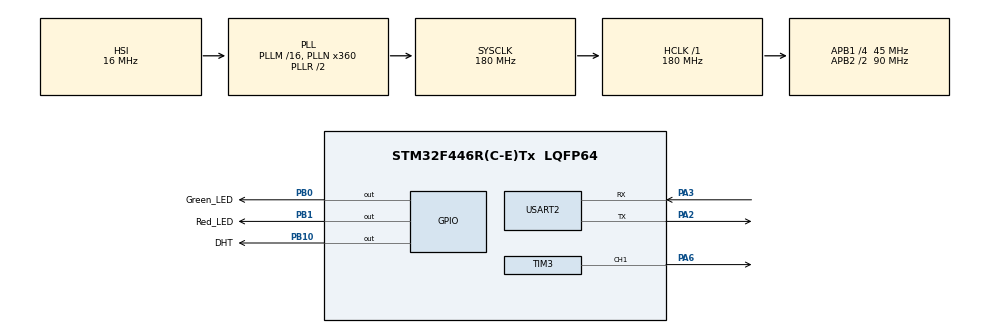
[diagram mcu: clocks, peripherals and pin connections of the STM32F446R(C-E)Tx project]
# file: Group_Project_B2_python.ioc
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Mcu.Family=STM32F4
Mcu.Name=STM32F446R(C-E)Tx
Mcu.Package=LQFP64
NVIC.PriorityGroup=NVIC_PRIORITYGROUP_4
NVIC.USART2_IRQn=true\:5\:0\:true\:false\:true\:true\:true\:true
PA2.Mode=Asynchronous
PA2.Signal=USART2_TX
PA3.Mode=Asynchronous
PA3.Signal=USART2_RX
PA6.Signal=S_TIM3_CH1
PB0.GPIO_Label=Green_LED
PB0.Signal=GPIO_Output
PB1.GPIO_Label=Red_LED
PB1.Signal=GPIO_Output
PB10.GPIO_Label=DHT
PB10.Signal=GPIO_Output
PC14-OSC32_IN.Mode=LSE-External-Oscillator
PC14-OSC32_IN.Signal=RCC_OSC32_IN
PC15-OSC32_OUT.Mode=LSE-External-Oscillator
PC15-OSC32_OUT.Signal=RCC_OSC32_OUT
PH0-OSC_IN.Mode=HSE-External-Oscillator
PH0-OSC_IN.Signal=RCC_OSC_IN
PH1-OSC_OUT.Mode=HSE-External-Oscillator
PH1-OSC_OUT.Signal=RCC_OSC_OUT
ProjectManager.HeapSize=0x200
ProjectManager.StackSize=0x400
ProjectManager.TargetToolchain=STM32CubeIDE
RCC.AHBFreq_Value=180000000
RCC.APB1CLKDivider=RCC_HCLK_DIV4
RCC.APB1Freq_Value=45000000
RCC.APB1TimFreq_Value=90000000
RCC.APB2CLKDivider=RCC_HCLK_DIV2
RCC.APB2Freq_Value=90000000
RCC.APB2TimFreq_Value=180000000
RCC.CortexFreq_Value=180000000
RCC.HCLKFreq_Value=180000000
RCC.PLLN=360
RCC.SYSCLKFreq_VALUE=180000000
RCC.SYSCLKSource=RCC_SYSCLKSOURCE_PLLRCLK
RCC.USBFreq_Value=180000000
RCC.VCOOutputFreq_Value=360000000
SH.S_TIM3_CH1.0=TIM3_CH1,PWM Generation1 CH1
TIM3.Channel-PWM\ Generation1\ CH1=TIM_CHANNEL_1
TIM3.Period=19999
TIM3.Prescaler=89
USART2.VirtualMode=VM_ASYNC
VP_TIM3_VS_ClockSourceINT.Mode=Internal
board=custom

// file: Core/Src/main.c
/* USER CODE BEGIN Header */
/**
  ******************************************************************************
  * @file           : main.c
  * @brief          : Main program body
  ******************************************************************************
  * @attention
  *
  * Copyright (c) 2026 STMicroelectronics.
  * All rights reserved.
  *
  * This software is licensed under terms that can be found in the LICENSE file
  * in the root directory of this software component.
  * If no LICENSE file comes with this software, it is provided AS-IS.
  *
  ******************************************************************************
  */
/* USER CODE END Header */
#include "main.h"

/* USER CODE BEGIN PD */
#define GREEN_LED_PORT GPIOB
#define GREEN_LED_PIN GPIO_PIN_0
#define RED_LED_PORT GPIOB
#define RED_LED_PIN GPIO_PIN_1
#define DHT_PORT GPIOB
#define DHT_PIN GPIO_PIN_10

#define CMD_BUF_SIZE 8

#define SERVO_HOME_PULSE_US 1000
#define SERVO_MAX_PULSE_US 2000

#define CMD_BUF_SIZE 8
/* USER CODE END PD */

TIM_HandleTypeDef htim3;

UART_HandleTypeDef huart2;

/* USER CODE BEGIN PV */
extern TIM_HandleTypeDef htim3;
extern UART_HandleTypeDef huart2;

uint8_t rxByte;
char cmdBuf[CMD_BUF_SIZE];
uint8_t cmdIndex = 0;
volatile uint8_t commandReady = 0;
/* USER CODE END PV */

void SystemClock_Config(void);
static void MX_GPIO_Init(void);
static void MX_TIM3_Init(void);
static void MX_USART2_UART_Init(void);
/* USER CODE BEGIN PFP */
void delay_us(uint16_t us);
void dht_set_output(void);
void dht_set_input(void);
uint8_t dht_read(float *temperature, float *humidity);
void indicate_normal(void);
void indicate_defect(void);
void handle_command(const char *cmd);
/* USER CODE END PFP */

int main(void)
{

  /* MCU Configuration--------------------------------------------------------*/

  /* Reset of all peripherals, Initializes the Flash interface and the Systick. */
  HAL_Init();

  /* Configure the system clock */
  SystemClock_Config();

  /* Initialize all configured peripherals */
  MX_GPIO_Init();
  MX_TIM3_Init();
  MX_USART2_UART_Init();
  /* USER CODE BEGIN 2 */
  HAL_GPIO_WritePin(GREEN_LED_PORT, GREEN_LED_PIN, GPIO_PIN_RESET);
  HAL_GPIO_WritePin(RED_LED_PORT, RED_LED_PIN, GPIO_PIN_RESET);

  HAL_TIM_Base_Start(&htim3); // 마이크로초 딜레이용 타이머 시작
  HAL_UART_Receive_IT(&huart2, &rxByte, 1);  //첫 바이트 수신 대기 시작
  /* USER CODE END 2 */

  /* Infinite loop */
  while (1)
  {
    /* USER CODE BEGIN 3 */
	  if(commandReady)
	  {
		  commandReady = 0;
		  handle_command(cmdBuf);
		  cmdIndex = 0;
	  }
  /* USER CODE END 3 */
  }
}

void SystemClock_Config(void)
{
  RCC_OscInitTypeDef RCC_OscInitStruct = {0};
  RCC_ClkInitTypeDef RCC_ClkInitStruct = {0};

  /** Configure the main internal regulator output voltage
  */
  __HAL_RCC_PWR_CLK_ENABLE();
  __HAL_PWR_VOLTAGESCALING_CONFIG(PWR_REGULATOR_VOLTAGE_SCALE1);

  /** Initializes the RCC Oscillators according to the specified parameters
  * in the RCC_OscInitTypeDef structure.
  */
  RCC_OscInitStruct.OscillatorType = RCC_OSCILLATORTYPE_HSI;
  RCC_OscInitStruct.HSIState = RCC_HSI_ON;
  RCC_OscInitStruct.HSICalibrationValue = RCC_HSICALIBRATION_DEFAULT;
  RCC_OscInitStruct.PLL.PLLState = RCC_PLL_ON;
  RCC_OscInitStruct.PLL.PLLSource = RCC_PLLSOURCE_HSI;
  RCC_OscInitStruct.PLL.PLLM = 16;
  RCC_OscInitStruct.PLL.PLLN = 360;
  RCC_OscInitStruct.PLL.PLLP = RCC_PLLP_DIV2;
  RCC_OscInitStruct.PLL.PLLQ = 2;
  RCC_OscInitStruct.PLL.PLLR = 2;
  if (HAL_RCC_OscConfig(&RCC_OscInitStruct) != HAL_OK)
  {
    Error_Handler();
  }

  /** Activate the Over-Drive mode
  */
  if (HAL_PWREx_EnableOverDrive() != HAL_OK)
  {
    Error_Handler();
  }

  /** Initializes the CPU, AHB and APB buses clocks
  */
  RCC_ClkInitStruct.ClockType = RCC_CLOCKTYPE_HCLK|RCC_CLOCKTYPE_SYSCLK
                              |RCC_CLOCKTYPE_PCLK1|RCC_CLOCKTYPE_PCLK2;
  RCC_ClkInitStruct.SYSCLKSource = RCC_SYSCLKSOURCE_PLLRCLK;
  RCC_ClkInitStruct.AHBCLKDivider = RCC_SYSCLK_DIV1;
  RCC_ClkInitStruct.APB1CLKDivider = RCC_HCLK_DIV4;
  RCC_ClkInitStruct.APB2CLKDivider = RCC_HCLK_DIV2;

  if (HAL_RCC_ClockConfig(&RCC_ClkInitStruct, FLASH_LATENCY_5) != HAL_OK)
  {
    Error_Handler();
  }
}

static void MX_TIM3_Init(void)
{

  TIM_ClockConfigTypeDef sClockSourceConfig = {0};
  TIM_MasterConfigTypeDef sMasterConfig = {0};
  TIM_OC_InitTypeDef sConfigOC = {0};

  htim3.Instance = TIM3;
  htim3.Init.Prescaler = 89;
  htim3.Init.CounterMode = TIM_COUNTERMODE_UP;
  htim3.Init.Period = 19999;
  htim3.Init.ClockDivision = TIM_CLOCKDIVISION_DIV1;
  htim3.Init.AutoReloadPreload = TIM_AUTORELOAD_PRELOAD_DISABLE;
  if (HAL_TIM_Base_Init(&htim3) != HAL_OK)
  {
    Error_Handler();
  }
  sClockSourceConfig.ClockSource = TIM_CLOCKSOURCE_INTERNAL;
  if (HAL_TIM_ConfigClockSource(&htim3, &sClockSourceConfig) != HAL_OK)
  {
    Error_Handler();
  }
  if (HAL_TIM_PWM_Init(&htim3) != HAL_OK)
  {
    Error_Handler();
  }
  sMasterConfig.MasterOutputTrigger = TIM_TRGO_RESET;
  sMasterConfig.MasterSlaveMode = TIM_MASTERSLAVEMODE_DISABLE;
  if (HAL_TIMEx_MasterConfigSynchronization(&htim3, &sMasterConfig) != HAL_OK)
  {
    Error_Handler();
  }
  sConfigOC.OCMode = TIM_OCMODE_PWM1;
  sConfigOC.Pulse = 0;
  sConfigOC.OCPolarity = TIM_OCPOLARITY_HIGH;
  sConfigOC.OCFastMode = TIM_OCFAST_DISABLE;
  if (HAL_TIM_PWM_ConfigChannel(&htim3, &sConfigOC, TIM_CHANNEL_1) != HAL_OK)
  {
    Error_Handler();
  }
  HAL_TIM_MspPostInit(&htim3);

}

static void MX_USART2_UART_Init(void)
{

  huart2.Instance = USART2;
  huart2.Init.BaudRate = 115200;
  huart2.Init.WordLength = UART_WORDLENGTH_8B;
  huart2.Init.StopBits = UART_STOPBITS_1;
  huart2.Init.Parity = UART_PARITY_NONE;
  huart2.Init.Mode = UART_MODE_TX_RX;
  huart2.Init.HwFlowCtl = UART_HWCONTROL_NONE;
  huart2.Init.OverSampling = UART_OVERSAMPLING_16;
  if (HAL_UART_Init(&huart2) != HAL_OK)
  {
    Error_Handler();
  }

}

static void MX_GPIO_Init(void)
{
  GPIO_InitTypeDef GPIO_InitStruct = {0};

  /* GPIO Ports Clock Enable */
  __HAL_RCC_GPIOC_CLK_ENABLE();
  __HAL_RCC_GPIOH_CLK_ENABLE();
  __HAL_RCC_GPIOA_CLK_ENABLE();
  __HAL_RCC_GPIOB_CLK_ENABLE();

  /*Configure GPIO pin Output Level */
  HAL_GPIO_WritePin(GPIOB, Green_LED_Pin|Red_LED_Pin|DHT_Pin, GPIO_PIN_RESET);

  /*Configure GPIO pins : Green_LED_Pin Red_LED_Pin DHT_Pin */
  GPIO_InitStruct.Pin = Green_LED_Pin|Red_LED_Pin|DHT_Pin;
  GPIO_InitStruct.Mode = GPIO_MODE_OUTPUT_PP;
  GPIO_InitStruct.Pull = GPIO_NOPULL;
  GPIO_InitStruct.Speed = GPIO_SPEED_FREQ_LOW;
  HAL_GPIO_Init(GPIOB, &GPIO_InitStruct);

}

/* USER CODE BEGIN 4 */
//마이크로초 딜레이
void delay_us(uint16_t us)
{
	__HAL_TIM_SET_COUNTER(&htim3, 0);
	while(__HAL_TIM_GET_COUNTER(&htim3) < us);
}
//온습도 센서
void dht_set_output(void)
{
	GPIO_InitTypeDef gpio = {0};
	gpio.Pin = DHT_PIN;
	gpio.Mode = GPIO_MODE_OUTPUT_PP;
	gpio.Pull = GPIO_NOPULL;
	gpio.Speed = GPIO_SPEED_FREQ_HIGH;
	HAL_GPIO_Init(DHT_PORT, &gpio);

}
void dht_set_input(void)
{
	GPIO_InitTypeDef gpio = {0};
	gpio.Pin = DHT_PIN;
	gpio.Mode = GPIO_MODE_INPUT;
	gpio.Pull = GPIO_PULLUP;
	HAL_GPIO_Init(DHT_PORT, &gpio);
}
//응답 체크섬 일치 불일치 판단
uint8_t dht_read(float *temperature, float *humidity)
{
	uint8_t data[5] = {0,0,0,0};
	//시작 신호
	dht_set_output();
	HAL_GPIO_WritePin(DHT_PORT, DHT_PIN, GPIO_PIN_RESET);
	HAL_Delay(18);
	HAL_GPIO_WritePin(DHT_PORT, DHT_PIN, GPIO_PIN_SET);
	delay_us(30);
	//센서 응답 대기
	dht_set_input();
	uint16_t timeout=0;
	while(HAL_GPIO_ReadPin(DHT_PORT, DHT_PIN) == GPIO_PIN_SET)
	{
		if(++timeout > 100) return 0;
		delay_us(1);
	}
	timeout = 0;
	while(HAL_GPIO_ReadPin(DHT_PORT, DHT_PIN) == GPIO_PIN_RESET)
	{
		if(++timeout > 100) return 0;
		delay_us(1);
	}
	timeout = 0;
	while(HAL_GPIO_ReadPin(DHT_PORT, DHT_PIN) == GPIO_PIN_SET)
	{
		if(++timeout > 100) return 0;
		delay_us(1);
	}
	//40바이트 데이터 수신
	for (int i=0; i<40; i++)
	{
		timeout = 0;
		while(HAL_GPIO_ReadPin(DHT_PORT, DHT_PIN) == GPIO_PIN_RESET)
		{
			if(++timeout > 100) return 0;
			delay_us(1);
		}

		uint32_t highStart = 0;
		while (HAL_GPIO_ReadPin(DHT_PORT, DHT_PIN) == GPIO_PIN_SET)
		{
		  highStart++;
		  delay_us(1);
		  if (highStart > 100) return 0;
		}

		uint8_t byteIdx = i/8;
		data[byteIdx] <<=1;
		if(highStart > 40)
		{
			data[byteIdx] |= 1;
		}
	}
	//체크섬 검증
	uint8_t checksum = data[0] + data[1] + data[2] + data[3];
	if(checksum != data[4])
	{
		return 0;
	}
	*humidity = (float)data[0] + (float)data[1] / 10.0f;
	*temperature = (float)data[2] + (float)data[3] / 10.0f;
	return 1;
}

//LED
void indicate_normal(void)
{
	for(int i = 0; i< 3; i++)
	{
	    HAL_GPIO_WritePin(GREEN_LED_PORT, GREEN_LED_PIN, GPIO_PIN_SET);
	    HAL_Delay(150);
	    HAL_GPIO_WritePin(GREEN_LED_PORT, GREEN_LED_PIN, GPIO_PIN_RESET);
	    HAL_Delay(150);
	}
}

void indicate_defect(void)
{
	for(int i = 0; i < 3; i++)
	{
	    HAL_GPIO_WritePin(RED_LED_PORT, RED_LED_PIN, GPIO_PIN_SET);
	    HAL_Delay(200);
	    HAL_GPIO_WritePin(RED_LED_PORT, RED_LED_PIN, GPIO_PIN_RESET);
	    HAL_Delay(150);
	}
}

//pc로부터 받은 명령 한줄을 처리
void handle_command(const char *cmd)
{
	if(strcmp(cmd, "R") == 0)
	{
		float temperature, humidity;
		char response[32];
		if (dht_read(&temperature, &humidity))
		{
		    snprintf(response, sizeof(response), "T:%.1f,H:%.1f\n", temperature, humidity);
		}
		else
		{
		    snprintf(response, sizeof(response), "T:ERR,H:ERR\n");
		}
		HAL_UART_Transmit(&huart2, (uint8_t*)response, strlen(response), 100);

	}
	else if(strcmp(cmd, "N") == 0)
	{
		indicate_normal();
	}
	else if(strcmp(cmd, "D") == 0)
	{
		indicate_defect();
	}
  else if(strcmp(cmd, "S") == 0)
  {
    const char *doneMsg = "DONE\n";
    HAL_UART_Transmit(&huart2, (uint8_t*)doneMsg, strlen(doneMsg), 100);
  }
}

//수신완료 후 인터럽트 콜백
void HAL_UART_RxCpltCallback(UART_HandleTypeDef *huart)
{
	if(huart -> Instance == USART2)
	{
		char c = (char)rxByte;

		if(c == '\n' || c == '\r')
		{
			if(cmdIndex > 0)
			{
				cmdBuf[cmdIndex] = '\0';
				commandReady = 1;

			}
		}
		else if(cmdIndex < CMD_BUF_SIZE - 1)
		{
			cmdBuf[cmdIndex++] = c;
		}

		HAL_UART_Receive_IT(&huart2, &rxByte, 1);
	}
}
/* USER CODE END 4 */

void Error_Handler(void)
{
  __disable_irq();
  while (1)
  {
  }
}
